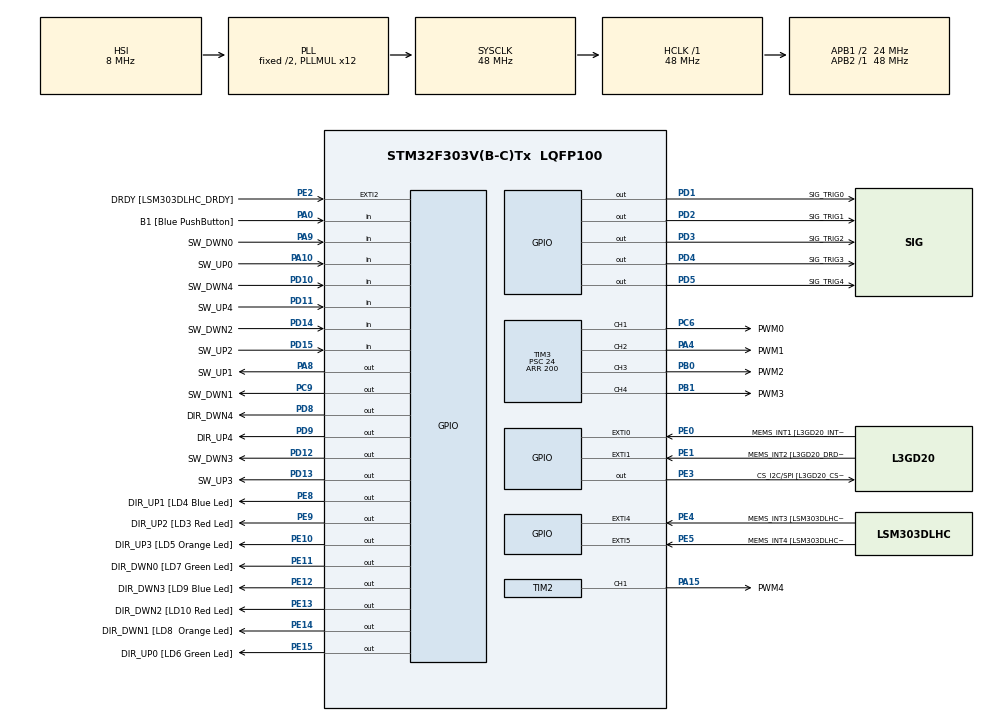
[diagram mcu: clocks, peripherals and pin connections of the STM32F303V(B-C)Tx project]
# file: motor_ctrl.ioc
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Mcu.Family=STM32F3
Mcu.Name=STM32F303V(B-C)Tx
Mcu.Package=LQFP100
NVIC.PriorityGroup=NVIC_PRIORITYGROUP_0
PA0.GPIO_Label=B1 [Blue PushButton]
PA0.GPIO_Mode=GPIO_MODE_INPUT
PA0.GPIO_PuPd=GPIO_NOPULL
PA0.Signal=GPIO_Input
PA10.GPIO_Label=SW_UP0
PA10.GPIO_PuPd=GPIO_PULLDOWN
PA10.Signal=GPIO_Input
PA11.GPIO_Label=DM
PA11.Signal=USB_DM
PA12.GPIO_Label=DP
PA12.Signal=USB_DP
PA13.GPIO_Label=SWDIO
PA13.Signal=SYS_JTMS-SWDIO
PA14.GPIO_Label=SWCLK
PA14.Signal=SYS_JTCK-SWCLK
PA15.GPIO_Label=PWM4
PA15.GPIO_PuPd=GPIO_PULLDOWN
PA15.Signal=S_TIM2_CH1_ETR
PA4.GPIO_Label=PWM1
PA4.GPIO_PuPd=GPIO_PULLDOWN
PA4.Signal=S_TIM3_CH2
PA5.GPIO_Label=SPI1_SCK [L3GD20_SCL/SPC]
PA5.GPIO_Mode=GPIO_MODE_AF_PP
PA5.GPIO_PuPd=GPIO_NOPULL
PA5.GPIO_Speed=GPIO_SPEED_FREQ_LOW
PA5.Signal=SPI1_SCK
PA6.GPIO_Label=SPI1_MISO [L3GD20_SA0/SDO]
PA6.GPIO_Mode=GPIO_MODE_AF_PP
PA6.GPIO_PuPd=GPIO_NOPULL
PA6.GPIO_Speed=GPIO_SPEED_FREQ_LOW
PA6.Signal=SPI1_MISO
PA7.GPIO_Label=SPI1_MISO [L3GD20_SDA/SDI/SDO]
PA7.GPIO_Mode=GPIO_MODE_AF_PP
PA7.GPIO_PuPd=GPIO_NOPULL
PA7.GPIO_Speed=GPIO_SPEED_FREQ_LOW
PA7.Signal=SPI1_MOSI
PA8.GPIO_Label=SW_UP1
PA8.GPIO_PuPd=GPIO_PULLDOWN
PA8.Signal=GPIO_Output
PA9.GPIO_Label=SW_DWN0
PA9.GPIO_PuPd=GPIO_PULLDOWN
PA9.Signal=GPIO_Input
PB0.GPIO_Label=PWM2
PB0.GPIO_PuPd=GPIO_PULLDOWN
PB0.Signal=S_TIM3_CH3
PB1.GPIO_Label=PWM3
PB1.GPIO_PuPd=GPIO_PULLDOWN
PB1.Signal=S_TIM3_CH4
PB3.GPIO_Label=SWO
PB3.Signal=SYS_JTDO-TRACESWO
PB6.GPIO_FM6=__NULL
PB6.GPIO_Label=I2C1_SCL [LSM303DLHC_SCL]
PB6.GPIO_Mode=GPIO_MODE_AF_OD
PB6.GPIO_PuPd=GPIO_NOPULL
PB6.GPIO_Speed=GPIO_SPEED_FREQ_LOW
PB6.Signal=I2C1_SCL
PB7.GPIO_FM7=__NULL
PB7.GPIO_Label=I2C1_SDA [LSM303DLHC_SDA]
PB7.GPIO_Mode=GPIO_MODE_AF_OD
PB7.GPIO_PuPd=GPIO_NOPULL
PB7.GPIO_Speed=GPIO_SPEED_FREQ_LOW
PB7.Signal=I2C1_SDA
PC14-OSC32_IN.GPIO_Label=OSC32_IN
PC14-OSC32_IN.Signal=RCC_OSC32_IN
PC15-OSC32_OUT.GPIO_Label=OSC32_OUT
PC15-OSC32_OUT.Signal=RCC_OSC32_OUT
PC6.GPIO_Label=PWM0
PC6.GPIO_PuPd=GPIO_PULLDOWN
PC6.Signal=S_TIM3_CH1
PC9.GPIO_Label=SW_DWN1
PC9.GPIO_PuPd=GPIO_PULLDOWN
PC9.Signal=GPIO_Output
PD1.GPIO_Label=SIG_TRIG0
PD1.Signal=GPIO_Output
PD10.GPIO_Label=SW_DWN4
PD10.GPIO_PuPd=GPIO_PULLDOWN
PD10.Signal=GPIO_Input
PD11.GPIO_Label=SW_UP4
PD11.GPIO_PuPd=GPIO_PULLDOWN
PD11.Signal=GPIO_Input
PD12.GPIO_Label=SW_DWN3
PD12.GPIO_PuPd=GPIO_PULLDOWN
PD12.Signal=GPIO_Output
PD13.GPIO_Label=SW_UP3
PD13.GPIO_PuPd=GPIO_PULLDOWN
PD13.Signal=GPIO_Output
PD14.GPIO_Label=SW_DWN2
PD14.GPIO_PuPd=GPIO_PULLDOWN
PD14.Signal=GPIO_Input
PD15.GPIO_Label=SW_UP2
PD15.GPIO_PuPd=GPIO_PULLDOWN
PD15.Signal=GPIO_Input
PD2.GPIO_Label=SIG_TRIG1
PD2.Signal=GPIO_Output
PD3.GPIO_Label=SIG_TRIG2
PD3.Signal=GPIO_Output
PD4.GPIO_Label=SIG_TRIG3
PD4.Signal=GPIO_Output
PD5.GPIO_Label=SIG_TRIG4
PD5.Signal=GPIO_Output
PD8.GPIO_Label=DIR_DWN4
PD8.Signal=GPIO_Output
PD9.GPIO_Label=DIR_UP4
PD9.Signal=GPIO_Output
PE0.GPIO_Label=MEMS_INT1 [L3GD20_INT1]
PE0.GPIO_ModeDefaultEXTI=GPIO_MODE_EVT_RISING
PE0.GPIO_PuPd=GPIO_NOPULL
PE0.Signal=GPXTI0
PE1.GPIO_Label=MEMS_INT2 [L3GD20_DRDY/INT2]
PE1.GPIO_ModeDefaultEXTI=GPIO_MODE_EVT_RISING
PE1.GPIO_PuPd=GPIO_NOPULL
PE1.Signal=GPXTI1
PE10.GPIO_Label=DIR_UP3 [LD5 Orange Led]
PE10.GPIO_ModeDefaultOutputPP=GPIO_MODE_OUTPUT_PP
PE10.GPIO_PuPd=GPIO_NOPULL
PE10.GPIO_Speed=GPIO_SPEED_FREQ_LOW
PE10.Signal=GPIO_Output
PE11.GPIO_Label=DIR_DWN0 [LD7 Green Led]
PE11.GPIO_ModeDefaultOutputPP=GPIO_MODE_OUTPUT_PP
PE11.GPIO_PuPd=GPIO_NOPULL
PE11.GPIO_Speed=GPIO_SPEED_FREQ_LOW
PE11.Signal=GPIO_Output
PE12.GPIO_Label=DIR_DWN3 [LD9 Blue Led]
PE12.GPIO_ModeDefaultOutputPP=GPIO_MODE_OUTPUT_PP
PE12.GPIO_PuPd=GPIO_NOPULL
PE12.GPIO_Speed=GPIO_SPEED_FREQ_LOW
PE12.Signal=GPIO_Output
PE13.GPIO_Label=DIR_DWN2 [LD10 Red Led]
PE13.GPIO_ModeDefaultOutputPP=GPIO_MODE_OUTPUT_PP
PE13.GPIO_PuPd=GPIO_NOPULL
PE13.GPIO_Speed=GPIO_SPEED_FREQ_LOW
PE13.Signal=GPIO_Output
PE14.GPIO_Label=DIR_DWN1 [LD8  Orange Led]
PE14.GPIO_ModeDefaultOutputPP=GPIO_MODE_OUTPUT_PP
PE14.GPIO_PuPd=GPIO_NOPULL
PE14.GPIO_Speed=GPIO_SPEED_FREQ_LOW
PE14.Signal=GPIO_Output
PE15.GPIO_Label=DIR_UP0 [LD6 Green Led]
PE15.GPIO_ModeDefaultOutputPP=GPIO_MODE_OUTPUT_PP
PE15.GPIO_PuPd=GPIO_NOPULL
PE15.GPIO_Speed=GPIO_SPEED_FREQ_LOW
PE15.Signal=GPIO_Output
PE2.GPIO_Label=DRDY [LSM303DLHC_DRDY]
PE2.GPIO_ModeDefaultEXTI=GPIO_MODE_EVT_RISING
PE2.GPIO_PuPd=GPIO_NOPULL
PE2.Signal=GPXTI2
PE3.GPIO_Label=CS_I2C/SPI [L3GD20_CS_I2C/SPI]
PE3.GPIO_ModeDefaultOutputPP=GPIO_MODE_OUTPUT_PP
PE3.GPIO_PuPd=GPIO_NOPULL
PE3.GPIO_Speed=GPIO_SPEED_FREQ_LOW
PE3.Signal=GPIO_Output
PE4.GPIO_Label=MEMS_INT3 [LSM303DLHC_INT1]
PE4.GPIO_ModeDefaultEXTI=GPIO_MODE_EVT_RISING
PE4.GPIO_PuPd=GPIO_NOPULL
PE4.Signal=GPXTI4
PE5.GPIO_Label=MEMS_INT4 [LSM303DLHC_INT2]
PE5.GPIO_ModeDefaultEXTI=GPIO_MODE_EVT_RISING
PE5.GPIO_PuPd=GPIO_NOPULL
PE5.Signal=GPXTI5
PE8.GPIO_Label=DIR_UP1 [LD4 Blue Led]
PE8.GPIO_ModeDefaultOutputPP=GPIO_MODE_OUTPUT_PP
PE8.GPIO_PuPd=GPIO_NOPULL
PE8.GPIO_Speed=GPIO_SPEED_FREQ_LOW
PE8.Signal=GPIO_Output
PE9.GPIO_Label=DIR_UP2 [LD3 Red Led]
PE9.GPIO_ModeDefaultOutputPP=GPIO_MODE_OUTPUT_PP
PE9.GPIO_PuPd=GPIO_NOPULL
PE9.GPIO_Speed=GPIO_SPEED_FREQ_LOW
PE9.Signal=GPIO_Output
PF0-OSC_IN.GPIO_Label=OSC_IN
PF0-OSC_IN.Signal=RCC_OSC_IN
PF1-OSC_OUT.GPIO_Label=OSC_OUT
PF1-OSC_OUT.Signal=RCC_OSC_OUT
ProjectManager.HeapSize=0x200
ProjectManager.StackSize=0x400
ProjectManager.TargetToolchain=MDK-ARM V5
RCC.AHBFreq_Value=48000000
RCC.APB1CLKDivider=RCC_HCLK_DIV2
RCC.APB1Freq_Value=24000000
RCC.APB1TimFreq_Value=48000000
RCC.APB2Freq_Value=48000000
RCC.APB2TimFreq_Value=48000000
RCC.CortexFreq_Value=48000000
RCC.HCLKFreq_Value=48000000
RCC.HSE_VALUE=8000000
RCC.HSI_VALUE=8000000
RCC.LSE_VALUE=32768
RCC.PLLMUL=RCC_PLL_MUL12
RCC.SYSCLKFreq_VALUE=48000000
RCC.SYSCLKSourceVirtual=RCC_SYSCLKSOURCE_PLLCLK
RCC.USBFreq_Value=48000000
SH.S_TIM2_CH1_ETR.0=TIM2_CH1,PWM Generation1 CH1
SH.S_TIM3_CH1.0=TIM3_CH1,PWM Generation1 CH1
SH.S_TIM3_CH2.0=TIM3_CH2,PWM Generation2 CH2
SH.S_TIM3_CH3.0=TIM3_CH3,PWM Generation3 CH3
SH.S_TIM3_CH4.0=TIM3_CH4,PWM Generation4 CH4
TIM2.Period=200
TIM2.Prescaler=24
TIM2.Pulse-PWM\ Generation1\ CH1=200
TIM3.Channel-PWM\ Generation2\ CH2=TIM_CHANNEL_2
TIM3.Channel-PWM\ Generation3\ CH3=TIM_CHANNEL_3
TIM3.Channel-PWM\ Generation4\ CH4=TIM_CHANNEL_4
TIM3.Period=200
TIM3.Prescaler=24
TIM3.Pulse-PWM\ Generation1\ CH1=200
TIM3.Pulse-PWM\ Generation2\ CH2=200
TIM3.Pulse-PWM\ Generation3\ CH3=200
TIM3.Pulse-PWM\ Generation4\ CH4=200
VP_TIM2_VS_ClockSourceINT.Mode=Internal
VP_TIM3_VS_ClockSourceINT.Mode=Internal
board=STM32F3DISCOVERY

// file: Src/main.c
/**
  ******************************************************************************
  * File Name          : main.c
  * Description        : Main program body
  ******************************************************************************
  *
  * COPYRIGHT(c) 2017 STMicroelectronics
  *
  * Redistribution and use in source and binary forms, with or without modification,
  * are permitted provided that the following conditions are met:
  *   1. Redistributions of source code must retain the above copyright notice,
  *      this list of conditions and the following disclaimer.
  *   2. Redistributions in binary form must reproduce the above copyright notice,
  *      this list of conditions and the following disclaimer in the documentation
  *      and/or other materials provided with the distribution.
  *   3. Neither the name of STMicroelectronics nor the names of its contributors
  *      may be used to endorse or promote products derived from this software
  *      without specific prior written permission.
  *
  * THIS SOFTWARE IS PROVIDED BY THE COPYRIGHT HOLDERS AND CONTRIBUTORS "AS IS"
  * AND ANY EXPRESS OR IMPLIED WARRANTIES, INCLUDING, BUT NOT LIMITED TO, THE
  * IMPLIED WARRANTIES OF MERCHANTABILITY AND FITNESS FOR A PARTICULAR PURPOSE ARE
  * DISCLAIMED. IN NO EVENT SHALL THE COPYRIGHT HOLDER OR CONTRIBUTORS BE LIABLE
  * FOR ANY DIRECT, INDIRECT, INCIDENTAL, SPECIAL, EXEMPLARY, OR CONSEQUENTIAL
  * DAMAGES (INCLUDING, BUT NOT LIMITED TO, PROCUREMENT OF SUBSTITUTE GOODS OR
  * SERVICES; LOSS OF USE, DATA, OR PROFITS; OR BUSINESS INTERRUPTION) HOWEVER
  * CAUSED AND ON ANY THEORY OF LIABILITY, WHETHER IN CONTRACT, STRICT LIABILITY,
  * OR TORT (INCLUDING NEGLIGENCE OR OTHERWISE) ARISING IN ANY WAY OUT OF THE USE
  * OF THIS SOFTWARE, EVEN IF ADVISED OF THE POSSIBILITY OF SUCH DAMAGE.
  *
  ******************************************************************************
  */
#include "stm32f3xx_hal.h"

/* USER CODE BEGIN Includes */
#include "stdbool.h"
/* volatile -> can be modified by ISR or other functions, continue to exist after ISR or function completed execution */
volatile bool motor_dir[5] = {1, 1, 1, 1, 1};                           //Motor next direction [0 for UP, 1 for DOWN]
volatile bool motion[5] = {1, 1, 1, 1, 1};                              //Motion enable [0 for stop, 1 for enable]
volatile bool SW_UP[5] = {0, 0, 0, 0, 0};                               //Up micro-switch status
volatile bool SW_DWN[5] = {0, 0, 0, 0, 0};                              //Down micro-switch status
volatile bool DIR_UP[5] = {0, 0, 0, 0, 0};                              //Up direction pin status
volatile bool DIR_DWN[5] = {0, 0, 0, 0, 0};                             //Down direction pin status
volatile uint8_t retry[5] = {0, 0, 0, 0, 0};                            //Retry counter before motion disable (max 3)
volatile uint8_t cnt_trigger[5] = {0, 0, 0, 0, 0};                      //Cycle counter for external trigger signal
volatile uint32_t cnt_timer[5] = {0, 0, 0, 0, 0};                       //On timer for external trigger signal
volatile uint32_t motor_timer[5] = {0, 0, 0, 0, 0};                     //Motor run time
volatile uint32_t motor_rest[5] = {0, 0, 0, 0, 0};                      //Motor rest time < 0 for bypass
volatile uint32_t count[5] = {0, 0, 0, 0, 0};                           //delay counter
volatile uint32_t count_dir[5] = {0, 0, 0, 0, 0};                       //delay for direction signal
volatile uint32_t retry_timer[5] = {0, 0, 0, 0, 0};                     //retry count resets after time expires

/* USER CODE END Includes */

/* USER CODE BEGIN PV */
/* Private variables ---------------------------------------------------------*/
TIM_HandleTypeDef htim2;
TIM_HandleTypeDef htim3;

/* USER CODE END PV */

void SystemClock_Config(void);
void Error_Handler(void);
static void MX_GPIO_Init(void);
static void MX_TIM3_Init(void);
static void MX_TIM2_Init(void);

void HAL_TIM_MspPostInit(TIM_HandleTypeDef *htim);

/* USER CODE BEGIN PFP */
/* Private function prototypes -----------------------------------------------*/

/* USER CODE END PFP */

int main(void)
{

  /* MCU Configuration----------------------------------------------------------*/

  /* Reset of all peripherals, Initializes the Flash interface and the Systick. */
  HAL_Init();

  /* Configure the system clock */
  SystemClock_Config();

  /* Initialize all configured peripherals */
  MX_GPIO_Init();
  MX_TIM3_Init();
  MX_TIM2_Init();

  /* USER CODE BEGIN 2 */
    //Start PWM control pin
    HAL_TIM_PWM_Start(&htim3, TIM_CHANNEL_1);
    HAL_TIM_PWM_Start(&htim3, TIM_CHANNEL_2);
    HAL_TIM_PWM_Start(&htim3, TIM_CHANNEL_3);
    HAL_TIM_PWM_Start(&htim3, TIM_CHANNEL_4);
    HAL_TIM_PWM_Start(&htim2, TIM_CHANNEL_1);

    //Adjust PWM duty cycle, max counter period configured @ 200
    __HAL_TIM_SetCompare(&htim3, TIM_CHANNEL_1, 201);
    __HAL_TIM_SetCompare(&htim3, TIM_CHANNEL_2, 201);
    __HAL_TIM_SetCompare(&htim3, TIM_CHANNEL_3, 201);
    __HAL_TIM_SetCompare(&htim3, TIM_CHANNEL_4, 201);
    __HAL_TIM_SetCompare(&htim2, TIM_CHANNEL_1, 201);

  /* USER CODE END 2 */

  /* Infinite loop */
  while (1)
  {

  }

}

/** System Clock Configuration
*/
void SystemClock_Config(void)
{

  RCC_OscInitTypeDef RCC_OscInitStruct;
  RCC_ClkInitTypeDef RCC_ClkInitStruct;

  RCC_OscInitStruct.OscillatorType = RCC_OSCILLATORTYPE_HSI;
  RCC_OscInitStruct.HSIState = RCC_HSI_ON;
  RCC_OscInitStruct.HSICalibrationValue = 16;
  RCC_OscInitStruct.PLL.PLLState = RCC_PLL_ON;
  RCC_OscInitStruct.PLL.PLLSource = RCC_PLLSOURCE_HSI;
  RCC_OscInitStruct.PLL.PLLMUL = RCC_PLL_MUL12;
  if (HAL_RCC_OscConfig(&RCC_OscInitStruct) != HAL_OK)
  {
    Error_Handler();
  }

  RCC_ClkInitStruct.ClockType = RCC_CLOCKTYPE_HCLK|RCC_CLOCKTYPE_SYSCLK
                              |RCC_CLOCKTYPE_PCLK1|RCC_CLOCKTYPE_PCLK2;
  RCC_ClkInitStruct.SYSCLKSource = RCC_SYSCLKSOURCE_PLLCLK;
  RCC_ClkInitStruct.AHBCLKDivider = RCC_SYSCLK_DIV1;
  RCC_ClkInitStruct.APB1CLKDivider = RCC_HCLK_DIV2;
  RCC_ClkInitStruct.APB2CLKDivider = RCC_HCLK_DIV1;
  if (HAL_RCC_ClockConfig(&RCC_ClkInitStruct, FLASH_LATENCY_1) != HAL_OK)
  {
    Error_Handler();
  }

  HAL_SYSTICK_Config(HAL_RCC_GetHCLKFreq()/1000);

  HAL_SYSTICK_CLKSourceConfig(SYSTICK_CLKSOURCE_HCLK);

  /* SysTick_IRQn interrupt configuration */
  HAL_NVIC_SetPriority(SysTick_IRQn, 0, 0);
}

/* TIM2 init function */
static void MX_TIM2_Init(void)
{

  TIM_ClockConfigTypeDef sClockSourceConfig;
  TIM_MasterConfigTypeDef sMasterConfig;
  TIM_OC_InitTypeDef sConfigOC;

  htim2.Instance = TIM2;
  htim2.Init.Prescaler = 24;
  htim2.Init.CounterMode = TIM_COUNTERMODE_UP;
  htim2.Init.Period = 200;
  htim2.Init.ClockDivision = TIM_CLOCKDIVISION_DIV1;
  if (HAL_TIM_Base_Init(&htim2) != HAL_OK)
  {
    Error_Handler();
  }

  sClockSourceConfig.ClockSource = TIM_CLOCKSOURCE_INTERNAL;
  if (HAL_TIM_ConfigClockSource(&htim2, &sClockSourceConfig) != HAL_OK)
  {
    Error_Handler();
  }

  if (HAL_TIM_PWM_Init(&htim2) != HAL_OK)
  {
    Error_Handler();
  }

  sMasterConfig.MasterOutputTrigger = TIM_TRGO_RESET;
  sMasterConfig.MasterSlaveMode = TIM_MASTERSLAVEMODE_DISABLE;
  if (HAL_TIMEx_MasterConfigSynchronization(&htim2, &sMasterConfig) != HAL_OK)
  {
    Error_Handler();
  }

  sConfigOC.OCMode = TIM_OCMODE_PWM1;
  sConfigOC.Pulse = 200;
  sConfigOC.OCPolarity = TIM_OCPOLARITY_HIGH;
  sConfigOC.OCFastMode = TIM_OCFAST_DISABLE;
  if (HAL_TIM_PWM_ConfigChannel(&htim2, &sConfigOC, TIM_CHANNEL_1) != HAL_OK)
  {
    Error_Handler();
  }

  HAL_TIM_MspPostInit(&htim2);

}

/* TIM3 init function */
static void MX_TIM3_Init(void)
{

  TIM_ClockConfigTypeDef sClockSourceConfig;
  TIM_MasterConfigTypeDef sMasterConfig;
  TIM_OC_InitTypeDef sConfigOC;

  htim3.Instance = TIM3;
  htim3.Init.Prescaler = 24;
  htim3.Init.CounterMode = TIM_COUNTERMODE_UP;
  htim3.Init.Period = 200;
  htim3.Init.ClockDivision = TIM_CLOCKDIVISION_DIV1;
  if (HAL_TIM_Base_Init(&htim3) != HAL_OK)
  {
    Error_Handler();
  }

  sClockSourceConfig.ClockSource = TIM_CLOCKSOURCE_INTERNAL;
  if (HAL_TIM_ConfigClockSource(&htim3, &sClockSourceConfig) != HAL_OK)
  {
    Error_Handler();
  }

  if (HAL_TIM_PWM_Init(&htim3) != HAL_OK)
  {
    Error_Handler();
  }

  sMasterConfig.MasterOutputTrigger = TIM_TRGO_RESET;
  sMasterConfig.MasterSlaveMode = TIM_MASTERSLAVEMODE_DISABLE;
  if (HAL_TIMEx_MasterConfigSynchronization(&htim3, &sMasterConfig) != HAL_OK)
  {
    Error_Handler();
  }

  sConfigOC.OCMode = TIM_OCMODE_PWM1;
  sConfigOC.Pulse = 200;
  sConfigOC.OCPolarity = TIM_OCPOLARITY_HIGH;
  sConfigOC.OCFastMode = TIM_OCFAST_DISABLE;
  if (HAL_TIM_PWM_ConfigChannel(&htim3, &sConfigOC, TIM_CHANNEL_1) != HAL_OK)
  {
    Error_Handler();
  }

  if (HAL_TIM_PWM_ConfigChannel(&htim3, &sConfigOC, TIM_CHANNEL_2) != HAL_OK)
  {
    Error_Handler();
  }

  if (HAL_TIM_PWM_ConfigChannel(&htim3, &sConfigOC, TIM_CHANNEL_3) != HAL_OK)
  {
    Error_Handler();
  }

  if (HAL_TIM_PWM_ConfigChannel(&htim3, &sConfigOC, TIM_CHANNEL_4) != HAL_OK)
  {
    Error_Handler();
  }

  HAL_TIM_MspPostInit(&htim3);

}

/** Configure pins as
        * Analog
        * Input
        * Output
        * EVENT_OUT
        * EXTI
     PA5   ------> SPI1_SCK
     PA6   ------> SPI1_MISO
     PA7   ------> SPI1_MOSI
     PA11   ------> USB_DM
     PA12   ------> USB_DP
     PB6   ------> I2C1_SCL
     PB7   ------> I2C1_SDA
*/
static void MX_GPIO_Init(void)
{

  GPIO_InitTypeDef GPIO_InitStruct;

  /* GPIO Ports Clock Enable */
  __HAL_RCC_GPIOE_CLK_ENABLE();
  __HAL_RCC_GPIOC_CLK_ENABLE();
  __HAL_RCC_GPIOF_CLK_ENABLE();
  __HAL_RCC_GPIOA_CLK_ENABLE();
  __HAL_RCC_GPIOB_CLK_ENABLE();
  __HAL_RCC_GPIOD_CLK_ENABLE();

  /*Configure GPIO pins : DRDY_Pin MEMS_INT3_Pin MEMS_INT4_Pin MEMS_INT1_Pin
                           MEMS_INT2_Pin */
  GPIO_InitStruct.Pin = DRDY_Pin|MEMS_INT3_Pin|MEMS_INT4_Pin|MEMS_INT1_Pin
                          |MEMS_INT2_Pin;
  GPIO_InitStruct.Mode = GPIO_MODE_EVT_RISING;
  GPIO_InitStruct.Pull = GPIO_NOPULL;
  HAL_GPIO_Init(GPIOE, &GPIO_InitStruct);

  /*Configure GPIO pins : CS_I2C_SPI_Pin DIR_UP1_Pin DIR_UP2_Pin DIR_UP3_Pin
                           DIR_DWN0_Pin DIR_DWN3_Pin DIR_DWN2_Pin DIR_DWN1_Pin
                           DIR_UP0_Pin */
  GPIO_InitStruct.Pin = CS_I2C_SPI_Pin|DIR_UP1_Pin|DIR_UP2_Pin|DIR_UP3_Pin
                          |DIR_DWN0_Pin|DIR_DWN3_Pin|DIR_DWN2_Pin|DIR_DWN1_Pin
                          |DIR_UP0_Pin;
  GPIO_InitStruct.Mode = GPIO_MODE_OUTPUT_PP;
  GPIO_InitStruct.Pull = GPIO_NOPULL;
  GPIO_InitStruct.Speed = GPIO_SPEED_FREQ_LOW;
  HAL_GPIO_Init(GPIOE, &GPIO_InitStruct);

  /*Configure GPIO pin : B1_Pin */
  GPIO_InitStruct.Pin = B1_Pin;
  GPIO_InitStruct.Mode = GPIO_MODE_INPUT;
  GPIO_InitStruct.Pull = GPIO_NOPULL;
  HAL_GPIO_Init(B1_GPIO_Port, &GPIO_InitStruct);

  /*Configure GPIO pins : PA5 PA6 SPI1_MISO_Pin */
  GPIO_InitStruct.Pin = GPIO_PIN_5|GPIO_PIN_6|SPI1_MISO_Pin;
  GPIO_InitStruct.Mode = GPIO_MODE_AF_PP;
  GPIO_InitStruct.Pull = GPIO_NOPULL;
  GPIO_InitStruct.Speed = GPIO_SPEED_FREQ_LOW;
  GPIO_InitStruct.Alternate = GPIO_AF5_SPI1;
  HAL_GPIO_Init(GPIOA, &GPIO_InitStruct);

  /*Configure GPIO pins : DIR_DWN4_Pin DIR_UP4_Pin SIG_TRIG0_Pin SIG_TRIG1_Pin
                           SIG_TRIG2_Pin SIG_TRIG3_Pin SIG_TRIG4_Pin */
  GPIO_InitStruct.Pin = DIR_DWN4_Pin|DIR_UP4_Pin|SIG_TRIG0_Pin|SIG_TRIG1_Pin
                          |SIG_TRIG2_Pin|SIG_TRIG3_Pin|SIG_TRIG4_Pin;
  GPIO_InitStruct.Mode = GPIO_MODE_OUTPUT_PP;
  GPIO_InitStruct.Pull = GPIO_NOPULL;
  GPIO_InitStruct.Speed = GPIO_SPEED_FREQ_LOW;
  HAL_GPIO_Init(GPIOD, &GPIO_InitStruct);

  /*Configure GPIO pins : SW_DWN4_Pin SW_UP4_Pin SW_DWN2_Pin SW_UP2_Pin */
  GPIO_InitStruct.Pin = SW_DWN4_Pin|SW_UP4_Pin|SW_DWN2_Pin|SW_UP2_Pin;
  GPIO_InitStruct.Mode = GPIO_MODE_INPUT;
  GPIO_InitStruct.Pull = GPIO_PULLDOWN;
  HAL_GPIO_Init(GPIOD, &GPIO_InitStruct);

  /*Configure GPIO pins : SW_DWN3_Pin SW_UP3_Pin */
  GPIO_InitStruct.Pin = SW_DWN3_Pin|SW_UP3_Pin;
  GPIO_InitStruct.Mode = GPIO_MODE_OUTPUT_PP;
  GPIO_InitStruct.Pull = GPIO_PULLDOWN;
  GPIO_InitStruct.Speed = GPIO_SPEED_FREQ_LOW;
  HAL_GPIO_Init(GPIOD, &GPIO_InitStruct);

  /*Configure GPIO pin : SW_DWN1_Pin */
  GPIO_InitStruct.Pin = SW_DWN1_Pin;
  GPIO_InitStruct.Mode = GPIO_MODE_OUTPUT_PP;
  GPIO_InitStruct.Pull = GPIO_PULLDOWN;
  GPIO_InitStruct.Speed = GPIO_SPEED_FREQ_LOW;
  HAL_GPIO_Init(SW_DWN1_GPIO_Port, &GPIO_InitStruct);

  /*Configure GPIO pin : SW_UP1_Pin */
  GPIO_InitStruct.Pin = SW_UP1_Pin;
  GPIO_InitStruct.Mode = GPIO_MODE_OUTPUT_PP;
  GPIO_InitStruct.Pull = GPIO_PULLDOWN;
  GPIO_InitStruct.Speed = GPIO_SPEED_FREQ_LOW;
  HAL_GPIO_Init(SW_UP1_GPIO_Port, &GPIO_InitStruct);

  /*Configure GPIO pins : SW_DWN0_Pin SW_UP0_Pin */
  GPIO_InitStruct.Pin = SW_DWN0_Pin|SW_UP0_Pin;
  GPIO_InitStruct.Mode = GPIO_MODE_INPUT;
  GPIO_InitStruct.Pull = GPIO_PULLDOWN;
  HAL_GPIO_Init(GPIOA, &GPIO_InitStruct);

  /*Configure GPIO pins : DM_Pin DP_Pin */
  GPIO_InitStruct.Pin = DM_Pin|DP_Pin;
  GPIO_InitStruct.Mode = GPIO_MODE_AF_PP;
  GPIO_InitStruct.Pull = GPIO_NOPULL;
  GPIO_InitStruct.Speed = GPIO_SPEED_FREQ_HIGH;
  GPIO_InitStruct.Alternate = GPIO_AF14_USB;
  HAL_GPIO_Init(GPIOA, &GPIO_InitStruct);

  /*Configure GPIO pins : PB6 PB7 */
  GPIO_InitStruct.Pin = GPIO_PIN_6|GPIO_PIN_7;
  GPIO_InitStruct.Mode = GPIO_MODE_AF_OD;
  GPIO_InitStruct.Pull = GPIO_PULLUP;
  GPIO_InitStruct.Speed = GPIO_SPEED_FREQ_LOW;
  GPIO_InitStruct.Alternate = GPIO_AF4_I2C1;
  HAL_GPIO_Init(GPIOB, &GPIO_InitStruct);

  /*Configure GPIO pin Output Level */
  HAL_GPIO_WritePin(GPIOE, CS_I2C_SPI_Pin|DIR_UP1_Pin|DIR_UP2_Pin|DIR_UP3_Pin
                          |DIR_DWN0_Pin|DIR_DWN3_Pin|DIR_DWN2_Pin|DIR_DWN1_Pin
                          |DIR_UP0_Pin, GPIO_PIN_RESET);

  /*Configure GPIO pin Output Level */
  HAL_GPIO_WritePin(GPIOD, DIR_DWN4_Pin|DIR_UP4_Pin|SW_DWN3_Pin|SW_UP3_Pin
                          |SIG_TRIG0_Pin|SIG_TRIG1_Pin|SIG_TRIG2_Pin|SIG_TRIG3_Pin
                          |SIG_TRIG4_Pin, GPIO_PIN_RESET);

  /*Configure GPIO pin Output Level */
  HAL_GPIO_WritePin(SW_DWN1_GPIO_Port, SW_DWN1_Pin, GPIO_PIN_RESET);

  /*Configure GPIO pin Output Level */
  HAL_GPIO_WritePin(SW_UP1_GPIO_Port, SW_UP1_Pin, GPIO_PIN_RESET);

}

void Error_Handler(void)
{
  while(1)
  {
  }
}

/************************ (C) COPYRIGHT STMicroelectronics *****END OF FILE****/
